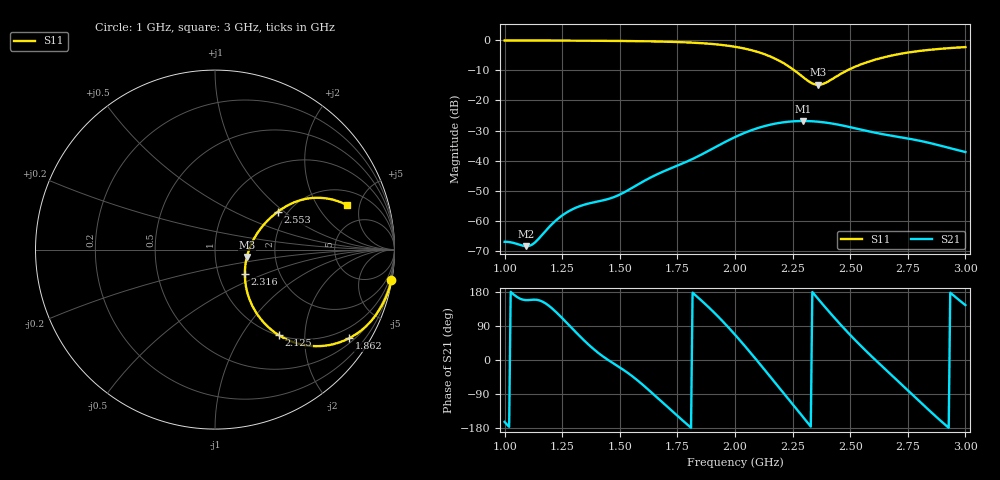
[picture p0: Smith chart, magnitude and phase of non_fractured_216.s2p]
! TOUCHSTONE file generated by CST MICROWAVE STUDIO
! Date and time: Sat Mar  8 13:55:33 2025
! Project name: non_fractured.cst
! Parameters = {B=2.5; D=160; F=20; Feed=2.85625; L=100; M=20; R=0.384908; S=1.5; Theta=270; length=57.125; wave=114.25}
! Header version: 2024
! Port assignment regex: !\s*Touchstone port\s*([0-9]+)\s*=\s*(CST MWS port|CST DES external port|CST DES block port)\s*(.+)\s* \(\"(.*)\"\)(\s*mode\s*([0-9]+))?.*
! Touchstone port assignment:
! Touchstone port 1 = CST MWS port 1 ("")
! Touchstone port 2 = CST MWS port 2 ("")
# GHz S DB R 50
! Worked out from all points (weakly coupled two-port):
!   305 points, 1 GHz to 3 GHz, reference 50 ohm
!   highest |S21| = -26.82 dB at 2.296 GHz (marker M1); lowest = -68.5 dB at 1.092 GHz (marker M2)
!   lowest |S11| = -14.8 dB at 2.362 GHz (marker M3), VSWR 1.45, Z = 71.3 - j6.01 ohm
!   |S11| at or under -10 dB: 2.258 GHz to 2.487 GHz (228.6 MHz wide, 9.63 % of centre)
!   S12 and S22 are empty: the file has one direction only
!   S11 on the Smith chart (normalised r, x): 1 GHz: 0, -12; 1.862 GHz: 0.64, -3.20; 2.125 GHz: 1.01, -1.48; 2.316 GHz: 1.34, -0.38; 2.553 GHz: 1.78, +0.90; 3 GHz: 3.01, +3.73
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1  -0.02 -9.8  -67.04 -163.3  -200.00 0.0  -200.00 0.0
1.09211  -0.03 -11.0  -68.48 158.1  -200.00 0.0  -200.00 0.0
1.13158  -0.04 -11.6  -67.26 159.2  -200.00 0.0  -200.00 0.0
1.20395  -0.05 -12.8  -61.28 137.2  -200.00 0.0  -200.00 0.0
1.25  -0.06 -13.6  -58.25 110.5  -200.00 0.0  -200.00 0.0
1.33553  -0.09 -15.2  -54.92 57.3  -200.00 0.0  -200.00 0.0
1.48026  -0.17 -18.4  -51.98 -12.1  -200.00 0.0  -200.00 0.0
1.67105  -0.37 -24.3  -44.24 -104.3  -200.00 0.0  -200.00 0.0
1.86184  -0.96 -33.5  -37.70 152.8  -200.00 0.0  -200.00 0.0
2  -2.12 -43.4  -32.18 66.8  -200.00 0.0  -200.00 0.0
2.125  -4.52 -53.3  -28.59 -23.2  -200.00 0.0  -200.00 0.0
2.21053  -7.57 -56.8  -27.25 -87.4  -200.00 0.0  -200.00 0.0
2.29605  -12.28 -46.2  -26.82 -151.4  -200.00 0.0  -200.00 0.0
2.31579  -13.41 -38.8  -26.85 -166.0  -200.00 0.0  -200.00 0.0
2.33553  -14.32 -28.9  -26.92 179.5  -200.00 0.0  -200.00 0.0
2.36184  -14.79 -12.9  -27.07 160.4  -200.00 0.0  -200.00 0.0
2.39474  -14.06 5.5  -27.36 136.9  -200.00 0.0  -200.00 0.0
2.45395  -11.37 23.6  -28.13 96.2  -200.00 0.0  -200.00 0.0
2.55263  -7.81 31.1  -29.79 33.5  -200.00 0.0  -200.00 0.0
2.67105  -5.19 30.0  -31.62 -35.0  -200.00 0.0  -200.00 0.0
2.80921  -3.44 25.2  -33.52 -113.9  -200.00 0.0  -200.00 0.0
3  -2.23 18.7  -37.15 144.8  -200.00 0.0  -200.00 0.0
